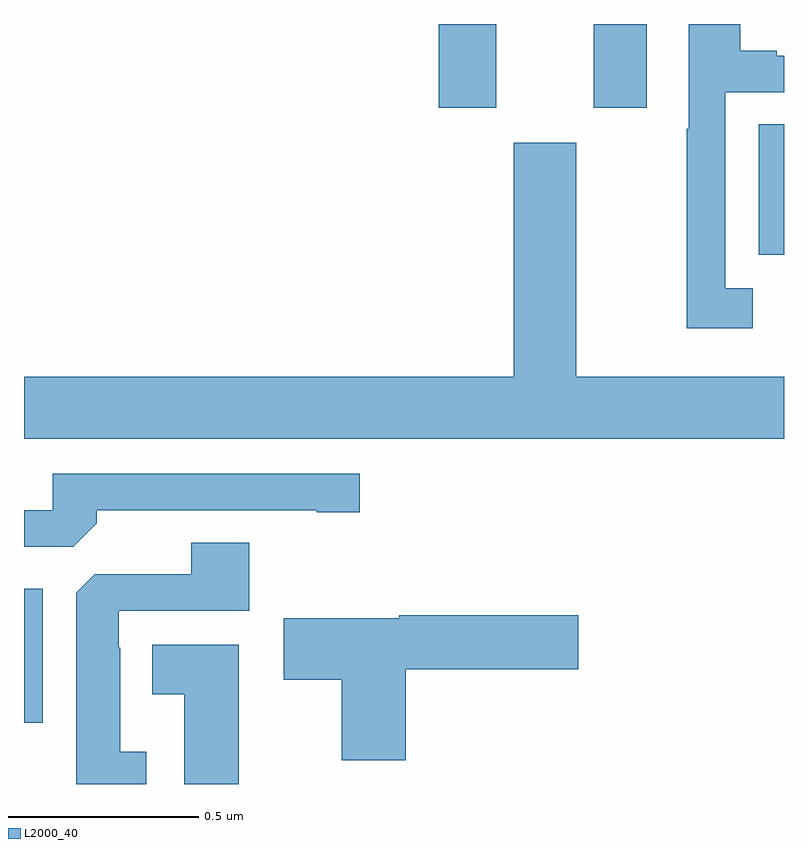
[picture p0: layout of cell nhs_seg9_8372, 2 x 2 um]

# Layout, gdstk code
import gdstk
lib = gdstk.Library(unit=1e-6, precision=1e-09)
def R(c, l, rs):  # rectangles x0, y0, x1, y1
    for r in rs: c.add(gdstk.rectangle(r[:2], r[2:], *l))
def P(c, l, *ps):  # polygons
    for p in ps: c.add(gdstk.Polygon(p, *l))
L2000_40 = (2000, 40)

nhs_seg9_8372 = lib.new_cell('nhs_seg9_8372')
R(nhs_seg9_8372, L2000_40, [(216,1207.661,216.049,1208.014), (217.934,1208.893,218,1209.236), (217.091,1209.279,217.243,1209.5), (217.499,1209.279,217.639,1209.5)])
P(nhs_seg9_8372, L2000_40, [(217.918,1208.805),(217.845,1208.805),(217.845,1209.321),(218,1209.321),(218,1209.417),(217.981,1209.417),(217.981,1209.43),(217.885,1209.43),(217.885,1209.5),(217.749,1209.5),(217.749,1209.224),(217.744,1209.224),(217.744,1208.7),(217.918,1208.7)],
  [(218,1208.572),(217.453,1208.572),(217.453,1209.187),(217.289,1209.187),(217.289,1208.572),(216,1208.572),(216,1208.408),(218,1208.408)],
  [(216.191,1208.186),(216.191,1208.22),(216.77,1208.22),(216.77,1208.215),(216.883,1208.215),(216.883,1208.316),(216.075,1208.316),(216.075,1208.22),(216,1208.22),(216,1208.124),(216.129,1208.124)],
  [(216.322,1207.585),(216.253,1207.585),(216.253,1207.859),(216.249,1207.859),(216.249,1207.956),(216.593,1207.956),(216.593,1208.135),(216.44,1208.135),(216.44,1208.052),(216.186,1208.052),(216.137,1208.003),(216.137,1207.5),(216.322,1207.5)],
  [(217.004,1207.802),(217.459,1207.802),(217.459,1207.944),(216.987,1207.944),(216.987,1207.936),(216.684,1207.936),(216.684,1207.774),(216.836,1207.774),(216.836,1207.563),(217.004,1207.563)],
  [(216.565,1207.867),(216.338,1207.867),(216.338,1207.736),(216.422,1207.736),(216.422,1207.5),(216.565,1207.5)])

lib.write_gds('nhs_seg9_8372.gds')
